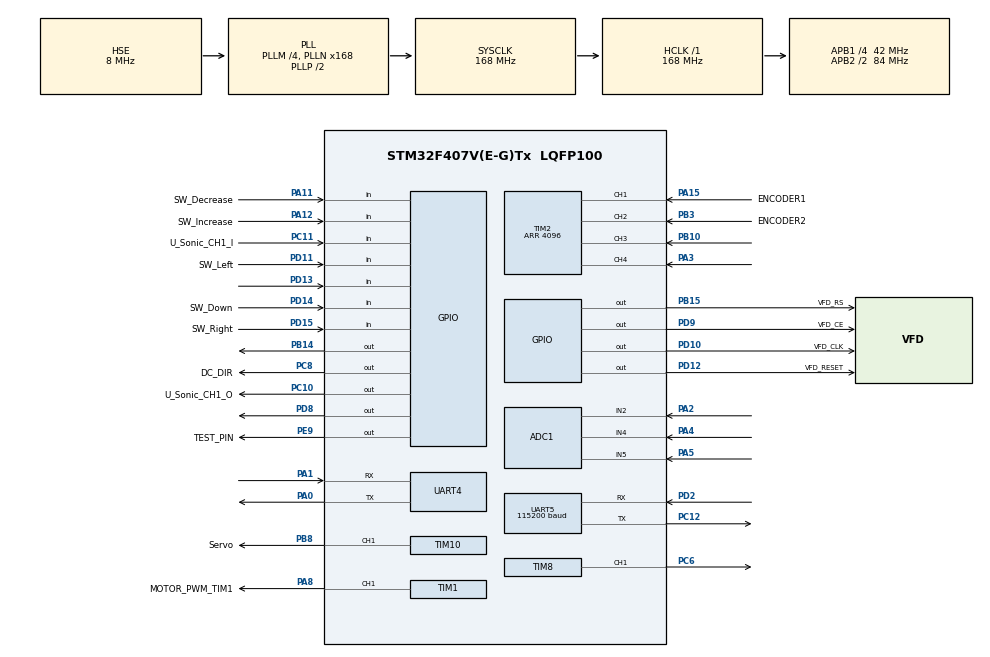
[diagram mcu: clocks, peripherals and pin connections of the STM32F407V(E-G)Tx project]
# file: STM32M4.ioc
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ADC1.Channel-1\#ChannelRegularConversion=ADC_CHANNEL_5
ADC1.Channel-2\#ChannelRegularConversion=ADC_CHANNEL_4
ADC1.Channel-3\#ChannelRegularConversion=ADC_CHANNEL_2
ADC1.ContinuousConvMode=DISABLE
ADC1.DiscontinuousConvMode=ENABLE
ADC1.ExternalTrigConv=ADC_SOFTWARE_START
ADC1.NbrOfConversion=3
ADC1.NbrOfConversionFlag=1
ADC1.Rank-1\#ChannelRegularConversion=1
ADC1.Rank-2\#ChannelRegularConversion=2
ADC1.Rank-3\#ChannelRegularConversion=3
ADC1.SamplingTime-1\#ChannelRegularConversion=ADC_SAMPLETIME_112CYCLES
ADC1.SamplingTime-2\#ChannelRegularConversion=ADC_SAMPLETIME_112CYCLES
ADC1.SamplingTime-3\#ChannelRegularConversion=ADC_SAMPLETIME_112CYCLES
ADC1.ScanConvMode=ENABLE
ADC1.master=1
Mcu.Family=STM32F4
Mcu.Name=STM32F407V(E-G)Tx
Mcu.Package=LQFP100
NVIC.ADC_IRQn=true\:0\:0\:false\:false\:true\:true\:true
NVIC.PriorityGroup=NVIC_PRIORITYGROUP_4
NVIC.TIM6_DAC_IRQn=true\:2\:0\:true\:false\:true\:true\:true
NVIC.TIM7_IRQn=true\:3\:0\:true\:false\:true\:true\:true
PA0-WKUP.Mode=Asynchronous
PA0-WKUP.Signal=UART4_TX
PA1.Mode=Asynchronous
PA1.Signal=UART4_RX
PA11.GPIO_Label=SW_Decrease
PA11.GPIO_PuPd=GPIO_PULLUP
PA11.Signal=GPIO_Input
PA12.GPIO_Label=SW_Increase
PA12.GPIO_PuPd=GPIO_PULLUP
PA12.Signal=GPIO_Input
PA13.Mode=Serial_Wire
PA13.Signal=SYS_JTMS-SWDIO
PA14.Mode=Serial_Wire
PA14.Signal=SYS_JTCK-SWCLK
PA15.GPIO_Label=ENCODER1
PA15.Signal=S_TIM2_CH1_ETR
PA2.Signal=ADCx_IN2
PA3.Signal=S_TIM2_CH4
PA4.Signal=ADCx_IN4
PA5.Signal=ADCx_IN5
PA8.GPIO_Label=MOTOR_PWM_TIM1
PA8.Signal=S_TIM1_CH1
PB10.Signal=S_TIM2_CH3
PB14.GPIO_PuPd=GPIO_PULLUP
PB14.Signal=GPIO_Output
PB15.GPIO_Label=VFD_RS
PB15.GPIO_PuPd=GPIO_PULLUP
PB15.Signal=GPIO_Output
PB3.GPIO_Label=ENCODER2
PB3.Signal=S_TIM2_CH2
PB8.GPIO_Label=Servo
PB8.Signal=S_TIM10_CH1
PC10.GPIO_Label=U_Sonic_CH1_O
PC10.GPIO_PuPd=GPIO_PULLUP
PC10.Signal=GPIO_Output
PC11.GPIO_Label=U_Sonic_CH1_I
PC11.GPIO_PuPd=GPIO_PULLUP
PC11.Signal=GPIO_Input
PC12.Mode=Asynchronous
PC12.Signal=UART5_TX
PC6.GPIO_PuPd=GPIO_NOPULL
PC6.Signal=S_TIM8_CH1
PC8.GPIO_Label=DC_DIR
PC8.GPIO_PuPd=GPIO_PULLUP
PC8.Signal=GPIO_Output
PD10.GPIO_Label=VFD_CLK
PD10.Signal=GPIO_Output
PD11.GPIO_Label=SW_Left
PD11.GPIO_PuPd=GPIO_PULLUP
PD11.Signal=GPIO_Input
PD12.GPIO_Label=VFD_RESET
PD12.GPIO_PuPd=GPIO_PULLUP
PD12.Signal=GPIO_Output
PD13.Signal=GPIO_Input
PD14.GPIO_Label=SW_Down
PD14.GPIO_PuPd=GPIO_PULLUP
PD14.Signal=GPIO_Input
PD15.GPIO_Label=SW_Right
PD15.GPIO_PuPd=GPIO_PULLUP
PD15.Signal=GPIO_Input
PD2.Mode=Asynchronous
PD2.Signal=UART5_RX
PD8.Signal=GPIO_Output
PD9.GPIO_Label=VFD_CE
PD9.GPIO_PuPd=GPIO_PULLUP
PD9.Signal=GPIO_Output
PE9.GPIO_Label=TEST_PIN
PE9.GPIO_PuPd=GPIO_PULLUP
PE9.GPIO_Speed=GPIO_SPEED_FREQ_VERY_HIGH
PE9.Signal=GPIO_Output
PH0-OSC_IN.Mode=HSE-External-Oscillator
PH0-OSC_IN.Signal=RCC_OSC_IN
PH1-OSC_OUT.Mode=HSE-External-Oscillator
PH1-OSC_OUT.Signal=RCC_OSC_OUT
ProjectManager.HeapSize=0x200
ProjectManager.StackSize=0x400
ProjectManager.TargetToolchain=STM32CubeIDE
RCC.48MHZClocksFreq_Value=84000000
RCC.AHBFreq_Value=168000000
RCC.APB1CLKDivider=RCC_HCLK_DIV4
RCC.APB1Freq_Value=42000000
RCC.APB1TimFreq_Value=84000000
RCC.APB2CLKDivider=RCC_HCLK_DIV2
RCC.APB2Freq_Value=84000000
RCC.APB2TimFreq_Value=168000000
RCC.CortexFreq_Value=168000000
RCC.HCLKFreq_Value=168000000
RCC.HSE_VALUE=8000000
RCC.HSI_VALUE=16000000
RCC.LSE_VALUE=32768
RCC.PLLM=4
RCC.PLLN=168
RCC.PLLSourceVirtual=RCC_PLLSOURCE_HSE
RCC.SYSCLKFreq_VALUE=168000000
RCC.SYSCLKSource=RCC_SYSCLKSOURCE_PLLCLK
RCC.VCOOutputFreq_Value=336000000
SH.ADCx_IN2.0=ADC1_IN2,IN2
SH.ADCx_IN4.0=ADC1_IN4,IN4
SH.ADCx_IN5.0=ADC1_IN5,IN5
SH.S_TIM10_CH1.0=TIM10_CH1,PWM Generation1 CH1
SH.S_TIM1_CH1.0=TIM1_CH1,PWM Generation1 CH1
SH.S_TIM2_CH1_ETR.0=TIM2_CH1,Encoder_Interface
SH.S_TIM2_CH2.0=TIM2_CH2,Encoder_Interface
SH.S_TIM2_CH3.0=TIM2_CH3,Input_Capture3_from_TI3
SH.S_TIM2_CH4.0=TIM2_CH4,Input_Capture4_from_TI4
SH.S_TIM8_CH1.0=TIM8_CH1,PWM Generation1 CH1
TIM1.BreakState=TIM_BREAK_DISABLE
TIM1.Channel-PWM\ Generation1\ CH1=TIM_CHANNEL_1
TIM1.OCFastMode_PWM-PWM\ Generation1\ CH1=TIM_OCFAST_DISABLE
TIM1.Period=1680-1
TIM1.Prescaler=2-1
TIM1.Pulse-PWM\ Generation1\ CH1=2-1
TIM1.RepetitionCounter=0
TIM10.Channel=TIM_CHANNEL_1
TIM10.Period=1000
TIM10.Prescaler=15999
TIM10.Pulse=300
TIM2.Channel-Input_Capture3_from_TI3=TIM_CHANNEL_3
TIM2.Channel-Input_Capture4_from_TI4=TIM_CHANNEL_4
TIM2.Period=4096
TIM2.TIM_MasterOutputTrigger=TIM_TRGO_RESET
TIM3.TIM_MasterOutputTrigger=TIM_TRGO_UPDATE
TIM6.Period=1680 - 1
TIM6.Prescaler=0
TIM7.Period=2100-1
TIM7.Prescaler=0
TIM8.Channel-PWM\ Generation1\ CH1=TIM_CHANNEL_1
TIM8.Period=56000-1
TIM8.Prescaler=3-1
TIM8.Pulse-PWM\ Generation1\ CH1=39200-1
UART4.VirtualMode=Asynchronous
UART5.BaudRate=115200
UART5.VirtualMode=Asynchronous
VP_TIM10_VS_ClockSourceINT.Mode=Enable_Timer
VP_TIM3_VS_ClockSourceINT.Mode=Internal
VP_TIM6_VS_ClockSourceINT.Mode=Enable_Timer
VP_TIM7_VS_ClockSourceINT.Mode=Enable_Timer
VP_TIM8_VS_ClockSourceINT.Mode=Internal
board=custom

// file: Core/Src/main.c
/* USER CODE BEGIN Header */
/**
  ******************************************************************************
  * @file           : main.c
  * @brief          : Main program body
  ******************************************************************************
  * @attention
  *
  * Copyright (c) 2022 STMicroelectronics.
  * All rights reserved.
  *
  * This software is licensed under terms that can be found in the LICENSE file
  * in the root directory of this software component.
  * If no LICENSE file comes with this software, it is provided AS-IS.
  *
  ******************************************************************************
  */

/* USER CODE END Header */
#include "main.h"

ADC_HandleTypeDef hadc1;

TIM_HandleTypeDef htim1;
TIM_HandleTypeDef htim2;
TIM_HandleTypeDef htim3;
TIM_HandleTypeDef htim6;
TIM_HandleTypeDef htim7;
TIM_HandleTypeDef htim8;
TIM_HandleTypeDef htim10;

UART_HandleTypeDef huart4;
UART_HandleTypeDef huart5;

void SystemClock_Config(void);
static void MX_GPIO_Init(void);
static void MX_TIM1_Init(void);
static void MX_TIM8_Init(void);
static void MX_TIM10_Init(void);
static void MX_UART4_Init(void);
static void MX_TIM2_Init(void);
static void MX_TIM6_Init(void);
static void MX_TIM7_Init(void);
static void MX_TIM3_Init(void);
static void MX_ADC1_Init(void);
static void MX_UART5_Init(void);
/* USER CODE BEGIN PFP */

void HAL_TIM_PeriodElapsedCallback(TIM_HandleTypeDef *htim)
{
	//activates every 20us
	if (htim -> Instance == TIM6)
	{
		sensor_ISR();
	}
	else if (htim -> Instance == TIM7)
	{
		motor_ISR();
	}
}

/* USER CODE END PFP */

/* USER CODE BEGIN 0 */

int _write(int file, char *ptr, int len)
{
	HAL_UART_Transmit(&huart4, ptr, len, 10);
	return len;
}

/* USER CODE END 0 */

int main(void)
{
  /* USER CODE BEGIN 1 */

	uint8_t value = "";

  /* USER CODE END 1 */

  /* MCU Configuration--------------------------------------------------------*/

  /* Reset of all peripherals, Initializes the Flash interface and the Systick. */
  HAL_Init();

  /* Configure the system clock */
  SystemClock_Config();

  /* Initialize all configured peripherals */
  MX_GPIO_Init();
  MX_TIM1_Init();
  MX_TIM8_Init();
  MX_TIM10_Init();
  MX_UART4_Init();
  MX_TIM2_Init();
  MX_TIM6_Init();
  MX_TIM7_Init();
  MX_TIM3_Init();
  MX_ADC1_Init();
  MX_UART5_Init();
  /* USER CODE BEGIN 2 */

  VfdInit();

  VFDPrintf("Initiate");
  HAL_Delay(100);

  VFDPrintf("PWM_INIT");
  HAL_TIM_PWM_Start(&htim1, TIM_CHANNEL_1);
  HAL_TIM_PWM_Start(&htim1, TIM_CHANNEL_2);

  HAL_TIM_PWM_Start(&htim8, TIM_CHANNEL_1);
  HAL_TIM_PWM_Start(&htim10,TIM_CHANNEL_1);

  VFDPrintf("PWM_DONE");
  HAL_Delay(100);
  VFDPrintf("ENC_INIT");

  HAL_TIM_Encoder_Start(&htim2, TIM_CHANNEL_ALL);

  VFDPrintf("ENC_DONE");
  HAL_Delay(100);
  VFDPrintf("INT_INIT");

  //enable TIM 6 for sensor Interrupt
  HAL_TIM_Base_Start_IT(&htim6);

  //enable TIM 7 for motor Interrupt
  HAL_TIM_Base_Start_IT(&htim7);

  VFDPrintf("INT_DONE");

  motor.kp = 0.6;
  motor.ki = 0.00002;
  motor.kd = 0.65;

  //  sensorInit();

  MenuSetting();

  VFDPrintf("YOONCHUL");

  HAL_Delay(100);

  /* USER CODE END 2 */

  /* Infinite loop */
  /* USER CODE BEGIN WHILE */

  while (1)
  {

	//TxPrintf("%c", (char) SCIx_RxChar());

	menu();

    /* USER CODE END WHILE */

  }
}

void SystemClock_Config(void)
{
  RCC_OscInitTypeDef RCC_OscInitStruct = {0};
  RCC_ClkInitTypeDef RCC_ClkInitStruct = {0};

  /** Configure the main internal regulator output voltage
  */
  __HAL_RCC_PWR_CLK_ENABLE();
  __HAL_PWR_VOLTAGESCALING_CONFIG(PWR_REGULATOR_VOLTAGE_SCALE1);
  /** Initializes the RCC Oscillators according to the specified parameters
  * in the RCC_OscInitTypeDef structure.
  */
  RCC_OscInitStruct.OscillatorType = RCC_OSCILLATORTYPE_HSE;
  RCC_OscInitStruct.HSEState = RCC_HSE_ON;
  RCC_OscInitStruct.PLL.PLLState = RCC_PLL_ON;
  RCC_OscInitStruct.PLL.PLLSource = RCC_PLLSOURCE_HSE;
  RCC_OscInitStruct.PLL.PLLM = 4;
  RCC_OscInitStruct.PLL.PLLN = 168;
  RCC_OscInitStruct.PLL.PLLP = RCC_PLLP_DIV2;
  RCC_OscInitStruct.PLL.PLLQ = 4;
  if (HAL_RCC_OscConfig(&RCC_OscInitStruct) != HAL_OK)
  {
    Error_Handler();
  }
  /** Initializes the CPU, AHB and APB buses clocks
  */
  RCC_ClkInitStruct.ClockType = RCC_CLOCKTYPE_HCLK|RCC_CLOCKTYPE_SYSCLK
                              |RCC_CLOCKTYPE_PCLK1|RCC_CLOCKTYPE_PCLK2;
  RCC_ClkInitStruct.SYSCLKSource = RCC_SYSCLKSOURCE_PLLCLK;
  RCC_ClkInitStruct.AHBCLKDivider = RCC_SYSCLK_DIV1;
  RCC_ClkInitStruct.APB1CLKDivider = RCC_HCLK_DIV4;
  RCC_ClkInitStruct.APB2CLKDivider = RCC_HCLK_DIV2;

  if (HAL_RCC_ClockConfig(&RCC_ClkInitStruct, FLASH_LATENCY_5) != HAL_OK)
  {
    Error_Handler();
  }
}

static void MX_ADC1_Init(void)
{

  ADC_ChannelConfTypeDef sConfig = {0};

  /** Configure the global features of the ADC (Clock, Resolution, Data Alignment and number of conversion)
  */
  hadc1.Instance = ADC1;
  hadc1.Init.ClockPrescaler = ADC_CLOCK_SYNC_PCLK_DIV4;
  hadc1.Init.Resolution = ADC_RESOLUTION_12B;
  hadc1.Init.ScanConvMode = ENABLE;
  hadc1.Init.ContinuousConvMode = DISABLE;
  hadc1.Init.DiscontinuousConvMode = ENABLE;
  hadc1.Init.NbrOfDiscConversion = 1;
  hadc1.Init.ExternalTrigConvEdge = ADC_EXTERNALTRIGCONVEDGE_NONE;
  hadc1.Init.ExternalTrigConv = ADC_SOFTWARE_START;
  hadc1.Init.DataAlign = ADC_DATAALIGN_RIGHT;
  hadc1.Init.NbrOfConversion = 3;
  hadc1.Init.DMAContinuousRequests = DISABLE;
  hadc1.Init.EOCSelection = ADC_EOC_SINGLE_CONV;
  if (HAL_ADC_Init(&hadc1) != HAL_OK)
  {
    Error_Handler();
  }
  /** Configure for the selected ADC regular channel its corresponding rank in the sequencer and its sample time.
  */
  sConfig.Channel = ADC_CHANNEL_5;
  sConfig.Rank = 1;
  sConfig.SamplingTime = ADC_SAMPLETIME_112CYCLES;
  if (HAL_ADC_ConfigChannel(&hadc1, &sConfig) != HAL_OK)
  {
    Error_Handler();
  }
  /** Configure for the selected ADC regular channel its corresponding rank in the sequencer and its sample time.
  */
  sConfig.Channel = ADC_CHANNEL_4;
  sConfig.Rank = 2;
  if (HAL_ADC_ConfigChannel(&hadc1, &sConfig) != HAL_OK)
  {
    Error_Handler();
  }
  /** Configure for the selected ADC regular channel its corresponding rank in the sequencer and its sample time.
  */
  sConfig.Channel = ADC_CHANNEL_2;
  sConfig.Rank = 3;
  if (HAL_ADC_ConfigChannel(&hadc1, &sConfig) != HAL_OK)
  {
    Error_Handler();
  }

}

static void MX_TIM1_Init(void)
{

  TIM_MasterConfigTypeDef sMasterConfig = {0};
  TIM_OC_InitTypeDef sConfigOC = {0};
  TIM_BreakDeadTimeConfigTypeDef sBreakDeadTimeConfig = {0};

  htim1.Instance = TIM1;
  htim1.Init.Prescaler = 2-1;
  htim1.Init.CounterMode = TIM_COUNTERMODE_UP;
  htim1.Init.Period = 1680-1;
  htim1.Init.ClockDivision = TIM_CLOCKDIVISION_DIV1;
  htim1.Init.RepetitionCounter = 0;
  htim1.Init.AutoReloadPreload = TIM_AUTORELOAD_PRELOAD_DISABLE;
  if (HAL_TIM_PWM_Init(&htim1) != HAL_OK)
  {
    Error_Handler();
  }
  sMasterConfig.MasterOutputTrigger = TIM_TRGO_RESET;
  sMasterConfig.MasterSlaveMode = TIM_MASTERSLAVEMODE_DISABLE;
  if (HAL_TIMEx_MasterConfigSynchronization(&htim1, &sMasterConfig) != HAL_OK)
  {
    Error_Handler();
  }
  sConfigOC.OCMode = TIM_OCMODE_PWM1;
  sConfigOC.Pulse = 2-1;
  sConfigOC.OCPolarity = TIM_OCPOLARITY_HIGH;
  sConfigOC.OCNPolarity = TIM_OCNPOLARITY_HIGH;
  sConfigOC.OCFastMode = TIM_OCFAST_DISABLE;
  sConfigOC.OCIdleState = TIM_OCIDLESTATE_RESET;
  sConfigOC.OCNIdleState = TIM_OCNIDLESTATE_RESET;
  if (HAL_TIM_PWM_ConfigChannel(&htim1, &sConfigOC, TIM_CHANNEL_1) != HAL_OK)
  {
    Error_Handler();
  }
  sBreakDeadTimeConfig.OffStateRunMode = TIM_OSSR_DISABLE;
  sBreakDeadTimeConfig.OffStateIDLEMode = TIM_OSSI_DISABLE;
  sBreakDeadTimeConfig.LockLevel = TIM_LOCKLEVEL_OFF;
  sBreakDeadTimeConfig.DeadTime = 0;
  sBreakDeadTimeConfig.BreakState = TIM_BREAK_DISABLE;
  sBreakDeadTimeConfig.BreakPolarity = TIM_BREAKPOLARITY_HIGH;
  sBreakDeadTimeConfig.AutomaticOutput = TIM_AUTOMATICOUTPUT_DISABLE;
  if (HAL_TIMEx_ConfigBreakDeadTime(&htim1, &sBreakDeadTimeConfig) != HAL_OK)
  {
    Error_Handler();
  }
  HAL_TIM_MspPostInit(&htim1);

}

static void MX_TIM2_Init(void)
{

  TIM_Encoder_InitTypeDef sConfig = {0};
  TIM_MasterConfigTypeDef sMasterConfig = {0};
  TIM_IC_InitTypeDef sConfigIC = {0};

  htim2.Instance = TIM2;
  htim2.Init.Prescaler = 0;
  htim2.Init.CounterMode = TIM_COUNTERMODE_UP;
  htim2.Init.Period = 4096;
  htim2.Init.ClockDivision = TIM_CLOCKDIVISION_DIV1;
  htim2.Init.AutoReloadPreload = TIM_AUTORELOAD_PRELOAD_DISABLE;
  if (HAL_TIM_IC_Init(&htim2) != HAL_OK)
  {
    Error_Handler();
  }
  sConfig.EncoderMode = TIM_ENCODERMODE_TI1;
  sConfig.IC1Polarity = TIM_ICPOLARITY_RISING;
  sConfig.IC1Selection = TIM_ICSELECTION_DIRECTTI;
  sConfig.IC1Prescaler = TIM_ICPSC_DIV1;
  sConfig.IC1Filter = 0;
  sConfig.IC2Polarity = TIM_ICPOLARITY_RISING;
  sConfig.IC2Selection = TIM_ICSELECTION_DIRECTTI;
  sConfig.IC2Prescaler = TIM_ICPSC_DIV1;
  sConfig.IC2Filter = 0;
  if (HAL_TIM_Encoder_Init(&htim2, &sConfig) != HAL_OK)
  {
    Error_Handler();
  }
  sMasterConfig.MasterOutputTrigger = TIM_TRGO_RESET;
  sMasterConfig.MasterSlaveMode = TIM_MASTERSLAVEMODE_DISABLE;
  if (HAL_TIMEx_MasterConfigSynchronization(&htim2, &sMasterConfig) != HAL_OK)
  {
    Error_Handler();
  }
  sConfigIC.ICPolarity = TIM_INPUTCHANNELPOLARITY_RISING;
  sConfigIC.ICSelection = TIM_ICSELECTION_DIRECTTI;
  sConfigIC.ICPrescaler = TIM_ICPSC_DIV1;
  sConfigIC.ICFilter = 0;
  if (HAL_TIM_IC_ConfigChannel(&htim2, &sConfigIC, TIM_CHANNEL_3) != HAL_OK)
  {
    Error_Handler();
  }
  if (HAL_TIM_IC_ConfigChannel(&htim2, &sConfigIC, TIM_CHANNEL_4) != HAL_OK)
  {
    Error_Handler();
  }

}

static void MX_TIM3_Init(void)
{

  TIM_ClockConfigTypeDef sClockSourceConfig = {0};
  TIM_MasterConfigTypeDef sMasterConfig = {0};

  htim3.Instance = TIM3;
  htim3.Init.Prescaler = 0;
  htim3.Init.CounterMode = TIM_COUNTERMODE_UP;
  htim3.Init.Period = 65535;
  htim3.Init.ClockDivision = TIM_CLOCKDIVISION_DIV1;
  htim3.Init.AutoReloadPreload = TIM_AUTORELOAD_PRELOAD_DISABLE;
  if (HAL_TIM_Base_Init(&htim3) != HAL_OK)
  {
    Error_Handler();
  }
  sClockSourceConfig.ClockSource = TIM_CLOCKSOURCE_INTERNAL;
  if (HAL_TIM_ConfigClockSource(&htim3, &sClockSourceConfig) != HAL_OK)
  {
    Error_Handler();
  }
  sMasterConfig.MasterOutputTrigger = TIM_TRGO_UPDATE;
  sMasterConfig.MasterSlaveMode = TIM_MASTERSLAVEMODE_DISABLE;
  if (HAL_TIMEx_MasterConfigSynchronization(&htim3, &sMasterConfig) != HAL_OK)
  {
    Error_Handler();
  }

}

static void MX_TIM6_Init(void)
{

  TIM_MasterConfigTypeDef sMasterConfig = {0};

  htim6.Instance = TIM6;
  htim6.Init.Prescaler = 0;
  htim6.Init.CounterMode = TIM_COUNTERMODE_UP;
  htim6.Init.Period = 1680 - 1;
  htim6.Init.AutoReloadPreload = TIM_AUTORELOAD_PRELOAD_DISABLE;
  if (HAL_TIM_Base_Init(&htim6) != HAL_OK)
  {
    Error_Handler();
  }
  sMasterConfig.MasterOutputTrigger = TIM_TRGO_RESET;
  sMasterConfig.MasterSlaveMode = TIM_MASTERSLAVEMODE_DISABLE;
  if (HAL_TIMEx_MasterConfigSynchronization(&htim6, &sMasterConfig) != HAL_OK)
  {
    Error_Handler();
  }

}

static void MX_TIM7_Init(void)
{

  TIM_MasterConfigTypeDef sMasterConfig = {0};

  htim7.Instance = TIM7;
  htim7.Init.Prescaler = 0;
  htim7.Init.CounterMode = TIM_COUNTERMODE_UP;
  htim7.Init.Period = 2100-1;
  htim7.Init.AutoReloadPreload = TIM_AUTORELOAD_PRELOAD_DISABLE;
  if (HAL_TIM_Base_Init(&htim7) != HAL_OK)
  {
    Error_Handler();
  }
  sMasterConfig.MasterOutputTrigger = TIM_TRGO_RESET;
  sMasterConfig.MasterSlaveMode = TIM_MASTERSLAVEMODE_DISABLE;
  if (HAL_TIMEx_MasterConfigSynchronization(&htim7, &sMasterConfig) != HAL_OK)
  {
    Error_Handler();
  }

}

static void MX_TIM8_Init(void)
{

  TIM_ClockConfigTypeDef sClockSourceConfig = {0};
  TIM_MasterConfigTypeDef sMasterConfig = {0};
  TIM_OC_InitTypeDef sConfigOC = {0};
  TIM_BreakDeadTimeConfigTypeDef sBreakDeadTimeConfig = {0};

  htim8.Instance = TIM8;
  htim8.Init.Prescaler = 3-1;
  htim8.Init.CounterMode = TIM_COUNTERMODE_UP;
  htim8.Init.Period = 56000-1;
  htim8.Init.ClockDivision = TIM_CLOCKDIVISION_DIV1;
  htim8.Init.RepetitionCounter = 0;
  htim8.Init.AutoReloadPreload = TIM_AUTORELOAD_PRELOAD_DISABLE;
  if (HAL_TIM_Base_Init(&htim8) != HAL_OK)
  {
    Error_Handler();
  }
  sClockSourceConfig.ClockSource = TIM_CLOCKSOURCE_INTERNAL;
  if (HAL_TIM_ConfigClockSource(&htim8, &sClockSourceConfig) != HAL_OK)
  {
    Error_Handler();
  }
  if (HAL_TIM_PWM_Init(&htim8) != HAL_OK)
  {
    Error_Handler();
  }
  sMasterConfig.MasterOutputTrigger = TIM_TRGO_RESET;
  sMasterConfig.MasterSlaveMode = TIM_MASTERSLAVEMODE_DISABLE;
  if (HAL_TIMEx_MasterConfigSynchronization(&htim8, &sMasterConfig) != HAL_OK)
  {
    Error_Handler();
  }
  sConfigOC.OCMode = TIM_OCMODE_PWM1;
  sConfigOC.Pulse = 39200-1;
  sConfigOC.OCPolarity = TIM_OCPOLARITY_HIGH;
  sConfigOC.OCNPolarity = TIM_OCNPOLARITY_HIGH;
  sConfigOC.OCFastMode = TIM_OCFAST_DISABLE;
  sConfigOC.OCIdleState = TIM_OCIDLESTATE_RESET;
  sConfigOC.OCNIdleState = TIM_OCNIDLESTATE_RESET;
  if (HAL_TIM_PWM_ConfigChannel(&htim8, &sConfigOC, TIM_CHANNEL_1) != HAL_OK)
  {
    Error_Handler();
  }
  sBreakDeadTimeConfig.OffStateRunMode = TIM_OSSR_DISABLE;
  sBreakDeadTimeConfig.OffStateIDLEMode = TIM_OSSI_DISABLE;
  sBreakDeadTimeConfig.LockLevel = TIM_LOCKLEVEL_OFF;
  sBreakDeadTimeConfig.DeadTime = 0;
  sBreakDeadTimeConfig.BreakState = TIM_BREAK_DISABLE;
  sBreakDeadTimeConfig.BreakPolarity = TIM_BREAKPOLARITY_HIGH;
  sBreakDeadTimeConfig.AutomaticOutput = TIM_AUTOMATICOUTPUT_DISABLE;
  if (HAL_TIMEx_ConfigBreakDeadTime(&htim8, &sBreakDeadTimeConfig) != HAL_OK)
  {
    Error_Handler();
  }
  HAL_TIM_MspPostInit(&htim8);

}

static void MX_TIM10_Init(void)
{

  TIM_OC_InitTypeDef sConfigOC = {0};

  htim10.Instance = TIM10;
  htim10.Init.Prescaler = 15999;
  htim10.Init.CounterMode = TIM_COUNTERMODE_UP;
  htim10.Init.Period = 1000;
  htim10.Init.ClockDivision = TIM_CLOCKDIVISION_DIV1;
  htim10.Init.AutoReloadPreload = TIM_AUTORELOAD_PRELOAD_DISABLE;
  if (HAL_TIM_Base_Init(&htim10) != HAL_OK)
  {
    Error_Handler();
  }
  if (HAL_TIM_PWM_Init(&htim10) != HAL_OK)
  {
    Error_Handler();
  }
  sConfigOC.OCMode = TIM_OCMODE_PWM1;
  sConfigOC.Pulse = 300;
  sConfigOC.OCPolarity = TIM_OCPOLARITY_HIGH;
  sConfigOC.OCFastMode = TIM_OCFAST_DISABLE;
  if (HAL_TIM_PWM_ConfigChannel(&htim10, &sConfigOC, TIM_CHANNEL_1) != HAL_OK)
  {
    Error_Handler();
  }
  HAL_TIM_MspPostInit(&htim10);

}

static void MX_UART4_Init(void)
{

  huart4.Instance = UART4;
  huart4.Init.BaudRate = 115200;
  huart4.Init.WordLength = UART_WORDLENGTH_8B;
  huart4.Init.StopBits = UART_STOPBITS_1;
  huart4.Init.Parity = UART_PARITY_NONE;
  huart4.Init.Mode = UART_MODE_TX_RX;
  huart4.Init.HwFlowCtl = UART_HWCONTROL_NONE;
  huart4.Init.OverSampling = UART_OVERSAMPLING_16;
  if (HAL_UART_Init(&huart4) != HAL_OK)
  {
    Error_Handler();
  }

}

static void MX_UART5_Init(void)
{

  huart5.Instance = UART5;
  huart5.Init.BaudRate = 115200;
  huart5.Init.WordLength = UART_WORDLENGTH_8B;
  huart5.Init.StopBits = UART_STOPBITS_1;
  huart5.Init.Parity = UART_PARITY_NONE;
  huart5.Init.Mode = UART_MODE_TX_RX;
  huart5.Init.HwFlowCtl = UART_HWCONTROL_NONE;
  huart5.Init.OverSampling = UART_OVERSAMPLING_16;
  if (HAL_UART_Init(&huart5) != HAL_OK)
  {
    Error_Handler();
  }

}

static void MX_GPIO_Init(void)
{
  GPIO_InitTypeDef GPIO_InitStruct = {0};

  /* GPIO Ports Clock Enable */
  __HAL_RCC_GPIOH_CLK_ENABLE();
  __HAL_RCC_GPIOA_CLK_ENABLE();
  __HAL_RCC_GPIOE_CLK_ENABLE();
  __HAL_RCC_GPIOB_CLK_ENABLE();
  __HAL_RCC_GPIOD_CLK_ENABLE();
  __HAL_RCC_GPIOC_CLK_ENABLE();

  /*Configure GPIO pin Output Level */
  HAL_GPIO_WritePin(TEST_PIN_GPIO_Port, TEST_PIN_Pin, GPIO_PIN_RESET);

  /*Configure GPIO pin Output Level */
  HAL_GPIO_WritePin(GPIOB, GPIO_PIN_14|VFD_RS_Pin, GPIO_PIN_RESET);

  /*Configure GPIO pin Output Level */
  HAL_GPIO_WritePin(GPIOD, GPIO_PIN_8|VFD_CE_Pin|VFD_CLK_Pin|VFD_RESET_Pin, GPIO_PIN_RESET);

  /*Configure GPIO pin Output Level */
  HAL_GPIO_WritePin(GPIOC, DC_DIR_Pin|U_Sonic_CH1_O_Pin, GPIO_PIN_RESET);

  /*Configure GPIO pin : TEST_PIN_Pin */
  GPIO_InitStruct.Pin = TEST_PIN_Pin;
  GPIO_InitStruct.Mode = GPIO_MODE_OUTPUT_PP;
  GPIO_InitStruct.Pull = GPIO_PULLUP;
  GPIO_InitStruct.Speed = GPIO_SPEED_FREQ_VERY_HIGH;
  HAL_GPIO_Init(TEST_PIN_GPIO_Port, &GPIO_InitStruct);

  /*Configure GPIO pins : PB14 VFD_RS_Pin */
  GPIO_InitStruct.Pin = GPIO_PIN_14|VFD_RS_Pin;
  GPIO_InitStruct.Mode = GPIO_MODE_OUTPUT_PP;
  GPIO_InitStruct.Pull = GPIO_PULLUP;
  GPIO_InitStruct.Speed = GPIO_SPEED_FREQ_LOW;
  HAL_GPIO_Init(GPIOB, &GPIO_InitStruct);

  /*Configure GPIO pins : PD8 VFD_CLK_Pin */
  GPIO_InitStruct.Pin = GPIO_PIN_8|VFD_CLK_Pin;
  GPIO_InitStruct.Mode = GPIO_MODE_OUTPUT_PP;
  GPIO_InitStruct.Pull = GPIO_NOPULL;
  GPIO_InitStruct.Speed = GPIO_SPEED_FREQ_LOW;
  HAL_GPIO_Init(GPIOD, &GPIO_InitStruct);

  /*Configure GPIO pins : VFD_CE_Pin VFD_RESET_Pin */
  GPIO_InitStruct.Pin = VFD_CE_Pin|VFD_RESET_Pin;
  GPIO_InitStruct.Mode = GPIO_MODE_OUTPUT_PP;
  GPIO_InitStruct.Pull = GPIO_PULLUP;
  GPIO_InitStruct.Speed = GPIO_SPEED_FREQ_LOW;
  HAL_GPIO_Init(GPIOD, &GPIO_InitStruct);

  /*Configure GPIO pins : SW_Left_Pin SW_Down_Pin SW_Right_Pin */
  GPIO_InitStruct.Pin = SW_Left_Pin|SW_Down_Pin|SW_Right_Pin;
  GPIO_InitStruct.Mode = GPIO_MODE_INPUT;
  GPIO_InitStruct.Pull = GPIO_PULLUP;
  HAL_GPIO_Init(GPIOD, &GPIO_InitStruct);

  /*Configure GPIO pin : PD13 */
  GPIO_InitStruct.Pin = GPIO_PIN_13;
  GPIO_InitStruct.Mode = GPIO_MODE_INPUT;
  GPIO_InitStruct.Pull = GPIO_NOPULL;
  HAL_GPIO_Init(GPIOD, &GPIO_InitStruct);

  /*Configure GPIO pins : DC_DIR_Pin U_Sonic_CH1_O_Pin */
  GPIO_InitStruct.Pin = DC_DIR_Pin|U_Sonic_CH1_O_Pin;
  GPIO_InitStruct.Mode = GPIO_MODE_OUTPUT_PP;
  GPIO_InitStruct.Pull = GPIO_PULLUP;
  GPIO_InitStruct.Speed = GPIO_SPEED_FREQ_LOW;
  HAL_GPIO_Init(GPIOC, &GPIO_InitStruct);

  /*Configure GPIO pins : SW_Decrease_Pin SW_Increase_Pin */
  GPIO_InitStruct.Pin = SW_Decrease_Pin|SW_Increase_Pin;
  GPIO_InitStruct.Mode = GPIO_MODE_INPUT;
  GPIO_InitStruct.Pull = GPIO_PULLUP;
  HAL_GPIO_Init(GPIOA, &GPIO_InitStruct);

  /*Configure GPIO pin : U_Sonic_CH1_I_Pin */
  GPIO_InitStruct.Pin = U_Sonic_CH1_I_Pin;
  GPIO_InitStruct.Mode = GPIO_MODE_INPUT;
  GPIO_InitStruct.Pull = GPIO_PULLUP;
  HAL_GPIO_Init(U_Sonic_CH1_I_GPIO_Port, &GPIO_InitStruct);

}

void Error_Handler(void)
{
  __disable_irq();
  while (1)
  {
  }
}
